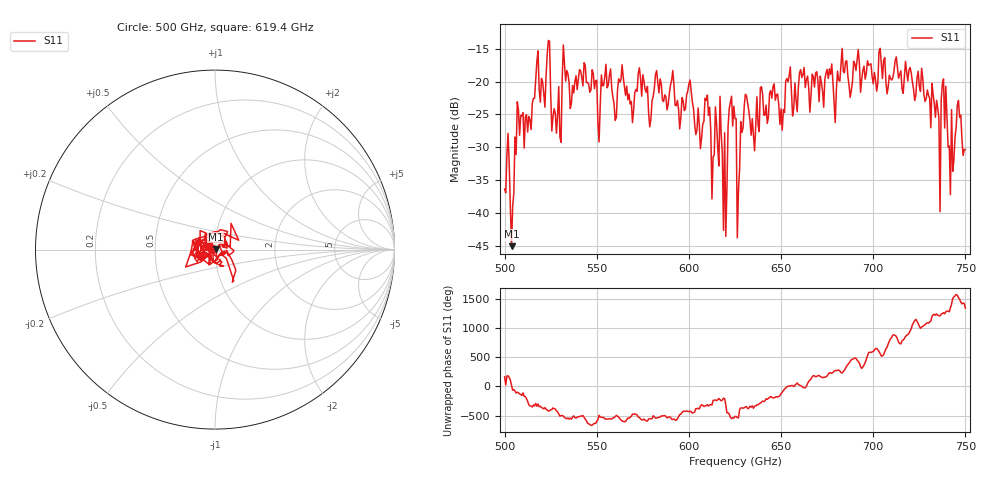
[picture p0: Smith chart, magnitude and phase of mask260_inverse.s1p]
!Created with skrf (http://scikit-rf.org).
# GHz S MA R 50.0
!freq magS11 angS11
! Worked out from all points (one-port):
!   401 points, 500 GHz to 750 GHz, reference 50 ohm
!   lowest |S11| = -45.0 dB at 503.8 GHz (marker M1), VSWR 1.01, Z = 50.5 + j0.192 ohm
!   |S11| at or under -10 dB: start of sweep to end of sweep
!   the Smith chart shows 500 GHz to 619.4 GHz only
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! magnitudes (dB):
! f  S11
! 500 GHz  -36.4
! 503.8 GHz  -45.0
! 508.1 GHz  -28.2
! 513.8 GHz  -25.8
! 516.9 GHz  -19.8
! 523.8 GHz  -13.8
! 526.9 GHz  -24.1
! 531.2 GHz  -19.5
! 562.5 GHz  -20.1
! 593.8 GHz  -22.9
! 606.9 GHz  -28.5
! 610 GHz  -22.0
! 612.5 GHz  -37.8
! 618.1 GHz  -30.9
! 619.4 GHz  -27.8
! 622.5 GHz  -23.2
! 625 GHz  -25.6
! 627.5 GHz  -33.3
! 631.2 GHz  -22.2
! 635 GHz  -28.1
! 656.2 GHz  -25.2
! 687.5 GHz  -22.4
! 718.8 GHz  -19.9
! 735 GHz  -24.1
! 738.1 GHz  -19.6
! 742.5 GHz  -24.3
! 746.2 GHz  -22.9
! 750 GHz  -30.3
